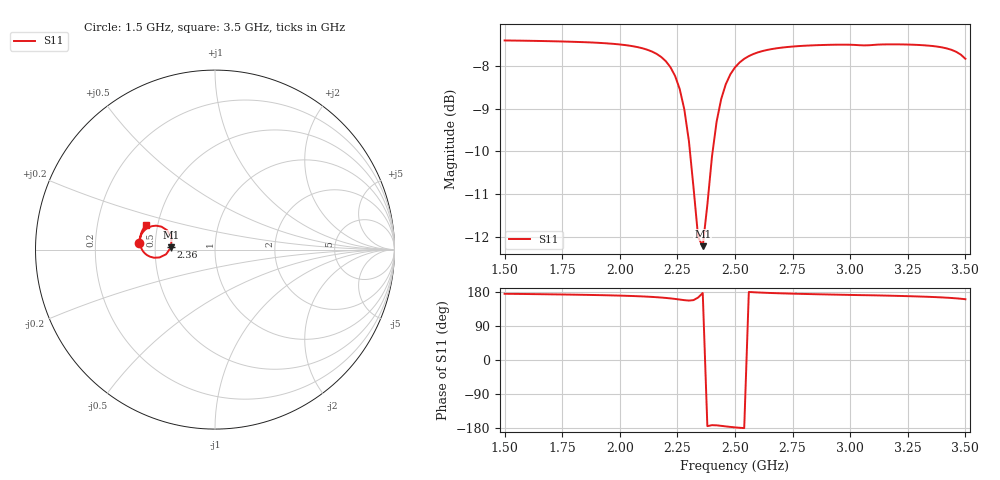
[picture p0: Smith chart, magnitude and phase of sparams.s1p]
! Patch antenna |S11| — matched inset, uniform-mesh rfx run
# Hz S MA R 50
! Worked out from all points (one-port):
!   101 points, 1.5 GHz to 3.5 GHz, reference 50 ohm
!   lowest |S11| = -12.2 dB at 2.36 GHz (marker M1), VSWR 1.65, Z = 30.3 + j0.886 ohm
!   |S11| at or under -10 dB: 2.304 GHz to 2.403 GHz (98.8 MHz wide, 4.2 % of centre)
!   S11 on the Smith chart (normalised r, x): 1.5 GHz: 0.40, +0.04; 2.36 GHz: 0.61, +0.02; 3.5 GHz: 0.43, +0.14
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1.5e9  0.4262 174.8
1.76e9  0.425 172.8
2e9  0.4216 169.9
2.1e9  0.4172 167.7
2.18e9  0.4076 164.8
2.22e9  0.3965 162.6
2.24e9  0.3873 161.1
2.26e9  0.3739 159.5
2.28e9  0.354 157.9
2.3e9  0.325 156.8
2.32e9  0.2867 158.0
2.34e9  0.2509 164.8
2.36e9  0.2449 176.8
2.38e9  0.2738 -174.5
2.4e9  0.3116 -172.0
2.42e9  0.3423 -172.4
2.44e9  0.364 -173.7
2.46e9  0.3788 -175.2
2.5e9  0.3964 -177.8
2.54e9  0.4056 -179.7
2.6e9  0.4128 178.2
2.76e9  0.4195 174.9
3e9  0.4213 171.7
3.26e9  0.4214 168.3
3.34e9  0.4203 166.7
3.42e9  0.4171 164.4
3.46e9  0.4134 162.7
3.5e9  0.4057 160.4
